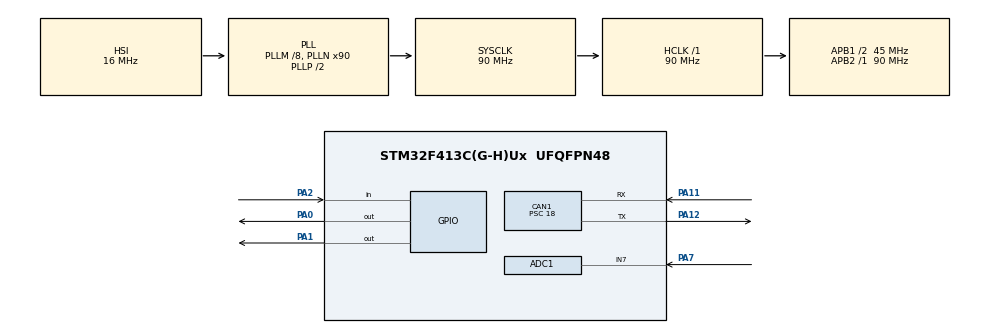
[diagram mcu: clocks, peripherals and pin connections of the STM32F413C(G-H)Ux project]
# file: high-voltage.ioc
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ADC1.Channel-0\#ChannelRegularConversion=ADC_CHANNEL_7
ADC1.ContinuousConvMode=ENABLE
ADC1.DMAContinuousRequests=ENABLE
ADC1.NbrOfConversion=1
ADC1.NbrOfConversionFlag=1
ADC1.ScanConvMode=DISABLE
ADC1.master=1
CAN1.ABOM=ENABLE
CAN1.AWUM=DISABLE
CAN1.BS1=CAN_BS1_3TQ
CAN1.CalculateBaudRate=500000
CAN1.CalculateTimeBit=2000
CAN1.CalculateTimeQuantum=400.0
CAN1.NART=DISABLE
CAN1.Prescaler=18
Dma.ADC1.0.Direction=DMA_PERIPH_TO_MEMORY
Dma.ADC1.0.FIFOMode=DMA_FIFOMODE_DISABLE
Dma.ADC1.0.Instance=DMA2_Stream0
Dma.ADC1.0.MemDataAlignment=DMA_MDATAALIGN_HALFWORD
Dma.ADC1.0.MemInc=DMA_MINC_ENABLE
Dma.ADC1.0.Mode=DMA_CIRCULAR
Dma.ADC1.0.PeriphDataAlignment=DMA_PDATAALIGN_HALFWORD
Dma.ADC1.0.PeriphInc=DMA_PINC_DISABLE
Dma.ADC1.0.Priority=DMA_PRIORITY_LOW
Dma.Request0=ADC1
Mcu.Family=STM32F4
Mcu.Name=STM32F413C(G-H)Ux
Mcu.Package=UFQFPN48
NVIC.CAN1_RX0_IRQn=true\:0\:0\:false\:false\:true\:true\:true
NVIC.DMA2_Stream0_IRQn=true\:0\:0\:false\:false\:true\:false\:true
NVIC.PriorityGroup=NVIC_PRIORITYGROUP_4
NVIC.TIM8_TRG_COM_TIM14_IRQn=true\:0\:0\:false\:false\:true\:true\:true
NVIC.TIM8_UP_TIM13_IRQn=true\:0\:0\:false\:false\:true\:true\:true
PA0.GPIO_PuPd=GPIO_PULLDOWN
PA0.Signal=GPIO_Output
PA1.GPIO_PuPd=GPIO_PULLUP
PA1.Signal=GPIO_Output
PA11.Mode=CAN_Activate
PA11.Signal=CAN1_RX
PA12.Mode=CAN_Activate
PA12.Signal=CAN1_TX
PA13.Mode=Serial_Wire
PA13.Signal=SYS_JTMS-SWDIO
PA14.Mode=Serial_Wire
PA14.Signal=SYS_JTCK-SWCLK
PA2.Signal=GPIO_Input
PA7.Signal=ADCx_IN7
PH0\ -\ OSC_IN.Mode=HSE-External-Oscillator
PH0\ -\ OSC_IN.Signal=RCC_OSC_IN
PH1\ -\ OSC_OUT.Mode=HSE-External-Oscillator
PH1\ -\ OSC_OUT.Signal=RCC_OSC_OUT
ProjectManager.HeapSize=0x200
ProjectManager.StackSize=0x400
ProjectManager.TargetToolchain=Makefile
RCC.AHBFreq_Value=90000000
RCC.APB1CLKDivider=RCC_HCLK_DIV2
RCC.APB1Freq_Value=45000000
RCC.APB1TimFreq_Value=90000000
RCC.APB2Freq_Value=90000000
RCC.APB2TimFreq_Value=90000000
RCC.CortexFreq_Value=90000000
RCC.HCLKFreq_Value=90000000
RCC.PLLM=8
RCC.PLLN=90
RCC.SYSCLKFreq_VALUE=90000000
RCC.SYSCLKSource=RCC_SYSCLKSOURCE_PLLCLK
RCC.USBFreq_Value=90000000
RCC.VCOOutputFreq_Value=180000000
SH.ADCx_IN7.0=ADC1_IN7,IN7
TIM13.Period=1000-1
TIM13.Prescaler=9000-1
TIM14.Period=500-1
TIM14.Prescaler=9000-1
VP_TIM13_VS_ClockSourceINT.Mode=Enable_Timer
VP_TIM14_VS_ClockSourceINT.Mode=Enable_Timer
board=custom

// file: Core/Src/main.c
/* USER CODE BEGIN Header */
/**
  ******************************************************************************
  * @file           : main.c
  * @brief          : Main program body
  ******************************************************************************
  * @attention
  *
  * <h2><center>&copy; Copyright (c) 2022 STMicroelectronics.
  * All rights reserved.</center></h2>
  *
  * This software component is licensed by ST under BSD 3-Clause license,
  * the "License"; You may not use this file except in compliance with the
  * License. You may obtain a copy of the License at:
  *                        opensource.org/licenses/BSD-3-Clause
  *
  ******************************************************************************
  */
/* USER CODE END Header */
#include "main.h"

/* USER CODE BEGIN PD */

// analog buffer
#define ADC_BUF_LEN 4086

// precharge
#define PRECHARGE_COEFFICIENT       0.95          // 95% complete with precharge so it's probably safe to continue
#define NUM_COMMAND_MSG             10            // number of command messages we see from rinehart
#define NUM_VOLTAGE_CHECKS          500           // since we're checking at 10ms Interrupts, 500 would be 5 seconds.
                                                  // precharge should be done in less than 2 seconds.
/* USER CODE END PD */

ADC_HandleTypeDef hadc1;
DMA_HandleTypeDef hdma_adc1;

CAN_HandleTypeDef hcan1;

TIM_HandleTypeDef htim13;
TIM_HandleTypeDef htim14;

/* USER CODE BEGIN PV */

// counters for Rinehart message sending in precharge
uint8_t rinehart_send_command_count = 0;

// inputs
uint32_t rinehartVoltage = 0;                 // read from CAN
uint32_t bmsVoltage = 0;					            // read from CAN
int vicoreTemp = 0;					                  // read from DMA, vicore temp
int DCDCEnable = 0;                           // dc-dc enable (0 = disabled, 1 = enabled)
int RTDButtonPressed = 0;                     // read this from CAN, if it's 1 we can finish precharge
uint32_t adc_buf[ADC_BUF_LEN];				        // adc read buffer

// output
int DCDCFault = 0;                            // the dc-dc fault indicator (0 = no fault, 1 = fault)
int readyToDrive = 0;					                // the car is ready to drive! (0 = not ready, 1 = ready)

// precharge states
enum prechargeStates
{
	PRECHARGE_OFF,
	PRECHARGE_ON,
	PRECHARGE_DONE,
	PRECHARGE_ERROR
};
uint8_t prechargeState = PRECHARGE_OFF;			  // set initial precharge state to OFF
uint8_t lastPrechargeState = PRECHARGE_OFF;
uint8_t voltageCheckCount = 0;
uint8_t rinehartUpdate = 0; // listens for rinehart receive parameter success message

// CAN transmit
uint32_t TxMailbox; 							            // CAN Bus Mail box variable
CAN_TxHeaderTypeDef txHeader0; 					      // CAN Bus Transmit Header BASE
CAN_TxHeaderTypeDef txHeader1; 					      // CAN Bus Transmit Header DATA
CAN_TxHeaderTypeDef txHeader2; 					      // CAN Bus Transmit Header DATA
CAN_TxHeaderTypeDef TxHeader3; 					      // CAN Bus Transmit Header DATA
uint8_t TxData[8];                            // CAN transmit buffer

// CAN recive
CAN_RxHeaderTypeDef rxHeader; 					      // CAN Bus Receive Header
uint8_t canRX[8] = {0, 0, 0, 0, 0, 0, 0, 0}; 	// CAN Bus Receive Buffer

CAN_FilterTypeDef canFilter0; 					      // CAN Bus Filter for BMS
CAN_FilterTypeDef canFilter1;                 // CAN Bus Filter for Rinehart
CAN_FilterTypeDef canFilter2;                 // CAN Bus Filter for Rinehart
/* USER CODE END PV */

void SystemClock_Config(void);
static void MX_GPIO_Init(void);
static void MX_CAN1_Init(void);
static void MX_DMA_Init(void);
static void MX_ADC1_Init(void);
static void MX_TIM14_Init(void);
static void MX_TIM13_Init(void);
/* USER CODE BEGIN PFP */
void prechargeControl();

/* USER CODE END PFP */

int main(void)
{

  /* MCU Configuration--------------------------------------------------------*/

  /* Reset of all peripherals, Initializes the Flash interface and the Systick. */
  HAL_Init();

  /* Configure the system clock */
  SystemClock_Config();

  /* Initialize all configured peripherals */
  MX_GPIO_Init();
  MX_CAN1_Init();
  MX_DMA_Init();
  MX_ADC1_Init();
  MX_TIM14_Init();
  MX_TIM13_Init();
  /* USER CODE BEGIN 2 */

  // init the CAN mailbox for BASE
  txHeader0.DLC = 8; // Number of bites to be transmitted max- 8
  txHeader0.IDE = CAN_ID_STD;
  txHeader0.RTR = CAN_RTR_DATA;
  txHeader0.StdId = 0x086;
  txHeader0.ExtId = 0x00;
  txHeader0.TransmitGlobalTime = DISABLE;

  // init the CAN mailbox for DATA
  txHeader1.DLC = 8; // Number of bites to be transmitted max- 8
  txHeader1.IDE = CAN_ID_STD;
  txHeader1.RTR = CAN_RTR_DATA;
  txHeader1.StdId = 0x087;
  txHeader1.ExtId = 0x00;
  txHeader1.TransmitGlobalTime = DISABLE;

  // header for rinehart (Parameter Command Message)
  txHeader2.DLC = 8; // Number of bites to be transmitted max- 8
  txHeader2.IDE = CAN_ID_STD;
  txHeader2.RTR = CAN_RTR_DATA;
  txHeader2.StdId = 0x0C1;
  txHeader2.ExtId = 0x00;
  txHeader2.TransmitGlobalTime = DISABLE;

  // Rinehart command message
  TxHeader3.StdId = 0x0C0;
  TxHeader3.ExtId = 0x000;
  TxHeader3.IDE = CAN_ID_STD;
  TxHeader3.RTR = CAN_RTR_DATA;
  TxHeader3.DLC = 8;
  TxHeader3.TransmitGlobalTime = DISABLE;

	// HAL_CAN_Start(&hcan1); // Initialize CAN Bus
	// HAL_CAN_ActivateNotification(&hcan1, CAN_IT_RX_FIFO0_MSG_PENDING);   // Initialize CAN Bus Rx Interrupt

  // start timers
  // HAL_TIM_Base_Start_IT(&htim14);
  // HAL_TIM_Base_Start_IT(&htim13);

	// start ADC DMA
	// HAL_ADC_Start_DMA(&hadc1, adc_buf, ADC_BUF_LEN);

  /* USER CODE END 2 */

  /* Infinite loop */
  while (1)
  {

  }
}

void SystemClock_Config(void)
{
  RCC_OscInitTypeDef RCC_OscInitStruct = {0};
  RCC_ClkInitTypeDef RCC_ClkInitStruct = {0};

  /** Configure the main internal regulator output voltage
  */
  __HAL_RCC_PWR_CLK_ENABLE();
  __HAL_PWR_VOLTAGESCALING_CONFIG(PWR_REGULATOR_VOLTAGE_SCALE1);
  /** Initializes the RCC Oscillators according to the specified parameters
  * in the RCC_OscInitTypeDef structure.
  */
  RCC_OscInitStruct.OscillatorType = RCC_OSCILLATORTYPE_HSI;
  RCC_OscInitStruct.HSIState = RCC_HSI_ON;
  RCC_OscInitStruct.HSICalibrationValue = RCC_HSICALIBRATION_DEFAULT;
  RCC_OscInitStruct.PLL.PLLState = RCC_PLL_ON;
  RCC_OscInitStruct.PLL.PLLSource = RCC_PLLSOURCE_HSI;
  RCC_OscInitStruct.PLL.PLLM = 8;
  RCC_OscInitStruct.PLL.PLLN = 90;
  RCC_OscInitStruct.PLL.PLLP = RCC_PLLP_DIV2;
  RCC_OscInitStruct.PLL.PLLQ = 2;
  RCC_OscInitStruct.PLL.PLLR = 2;
  if (HAL_RCC_OscConfig(&RCC_OscInitStruct) != HAL_OK)
  {
    Error_Handler();
  }
  /** Initializes the CPU, AHB and APB buses clocks
  */
  RCC_ClkInitStruct.ClockType = RCC_CLOCKTYPE_HCLK|RCC_CLOCKTYPE_SYSCLK
                              |RCC_CLOCKTYPE_PCLK1|RCC_CLOCKTYPE_PCLK2;
  RCC_ClkInitStruct.SYSCLKSource = RCC_SYSCLKSOURCE_PLLCLK;
  RCC_ClkInitStruct.AHBCLKDivider = RCC_SYSCLK_DIV1;
  RCC_ClkInitStruct.APB1CLKDivider = RCC_HCLK_DIV2;
  RCC_ClkInitStruct.APB2CLKDivider = RCC_HCLK_DIV1;

  if (HAL_RCC_ClockConfig(&RCC_ClkInitStruct, FLASH_LATENCY_3) != HAL_OK)
  {
    Error_Handler();
  }
}

static void MX_ADC1_Init(void)
{

  ADC_ChannelConfTypeDef sConfig = {0};

  /** Configure the global features of the ADC (Clock, Resolution, Data Alignment and number of conversion)
  */
  hadc1.Instance = ADC1;
  hadc1.Init.ClockPrescaler = ADC_CLOCK_SYNC_PCLK_DIV4;
  hadc1.Init.Resolution = ADC_RESOLUTION_12B;
  hadc1.Init.ScanConvMode = DISABLE;
  hadc1.Init.ContinuousConvMode = ENABLE;
  hadc1.Init.DiscontinuousConvMode = DISABLE;
  hadc1.Init.ExternalTrigConvEdge = ADC_EXTERNALTRIGCONVEDGE_NONE;
  hadc1.Init.ExternalTrigConv = ADC_SOFTWARE_START;
  hadc1.Init.DataAlign = ADC_DATAALIGN_RIGHT;
  hadc1.Init.NbrOfConversion = 1;
  hadc1.Init.DMAContinuousRequests = ENABLE;
  hadc1.Init.EOCSelection = ADC_EOC_SINGLE_CONV;
  if (HAL_ADC_Init(&hadc1) != HAL_OK)
  {
    Error_Handler();
  }
  /** Configure for the selected ADC regular channel its corresponding rank in the sequencer and its sample time.
  */
  sConfig.Channel = ADC_CHANNEL_7;
  sConfig.Rank = 1;
  sConfig.SamplingTime = ADC_SAMPLETIME_3CYCLES;
  if (HAL_ADC_ConfigChannel(&hadc1, &sConfig) != HAL_OK)
  {
    Error_Handler();
  }

}

static void MX_CAN1_Init(void)
{

  hcan1.Instance = CAN1;
  hcan1.Init.Prescaler = 18;
  hcan1.Init.Mode = CAN_MODE_NORMAL;
  hcan1.Init.SyncJumpWidth = CAN_SJW_1TQ;
  hcan1.Init.TimeSeg1 = CAN_BS1_3TQ;
  hcan1.Init.TimeSeg2 = CAN_BS2_1TQ;
  hcan1.Init.TimeTriggeredMode = DISABLE;
  hcan1.Init.AutoBusOff = ENABLE;
  hcan1.Init.AutoWakeUp = DISABLE;
  hcan1.Init.AutoRetransmission = DISABLE;
  hcan1.Init.ReceiveFifoLocked = DISABLE;
  hcan1.Init.TransmitFifoPriority = DISABLE;
  if (HAL_CAN_Init(&hcan1) != HAL_OK)
  {
    Error_Handler();
  }
  /* USER CODE BEGIN CAN1_Init 2 */

  // init the CAN filter for BMS messages
    canFilter0.FilterIdHigh = 0x6B0 << 5;   // Orion ID: 0x6B0
  	canFilter0.FilterIdLow = 0x000;
    canFilter0.FilterMaskIdHigh = 0x6B0 << 5;
  	canFilter0.FilterMaskIdLow = 0x000;
    canFilter0.FilterBank = 0;
  	canFilter0.FilterMode = CAN_FILTERMODE_IDMASK;
  	canFilter0.FilterFIFOAssignment = CAN_RX_FIFO0;
  	canFilter0.FilterScale = CAN_FILTERSCALE_32BIT;
  	canFilter0.FilterActivation = ENABLE;

    HAL_CAN_ConfigFilter(&hcan1, &canFilter0);

    // init the CAN filter for Rinehart voltage messages
    canFilter1.FilterIdHigh = 0x0A7 << 5;      // Rinehart IDs: 0xA0 - 0xB1
  	canFilter1.FilterIdLow = 0x000;
    canFilter1.FilterMaskIdHigh = 0x0A7 << 5;
  	canFilter1.FilterMaskIdLow = 0x000;
    canFilter1.FilterBank = 1;
  	canFilter1.FilterMode = CAN_FILTERMODE_IDMASK;
  	canFilter1.FilterFIFOAssignment = CAN_RX_FIFO0;
  	canFilter1.FilterScale = CAN_FILTERSCALE_32BIT;
  	canFilter1.FilterActivation = ENABLE;

    HAL_CAN_ConfigFilter(&hcan1, &canFilter1);

    // init the CAN filter for Rinehart Parameter Success messages
    canFilter2.FilterIdHigh = 0x0C2 << 5;      // Rinehart IDs: 0xA0 - 0xB1
  	canFilter2.FilterIdLow = 0x000;
    canFilter2.FilterMaskIdHigh = 0x0C2 << 5;
  	canFilter2.FilterMaskIdLow = 0x000;
    canFilter2.FilterBank = 2;
  	canFilter2.FilterMode = CAN_FILTERMODE_IDMASK;
  	canFilter2.FilterFIFOAssignment = CAN_RX_FIFO0;
  	canFilter2.FilterScale = CAN_FILTERSCALE_32BIT;
  	canFilter2.FilterActivation = ENABLE;

    HAL_CAN_ConfigFilter(&hcan1, &canFilter2);

  /* USER CODE END CAN1_Init 2 */

}

static void MX_TIM13_Init(void)
{

  htim13.Instance = TIM13;
  htim13.Init.Prescaler = 9000-1;
  htim13.Init.CounterMode = TIM_COUNTERMODE_UP;
  htim13.Init.Period = 1000-1;
  htim13.Init.ClockDivision = TIM_CLOCKDIVISION_DIV1;
  htim13.Init.AutoReloadPreload = TIM_AUTORELOAD_PRELOAD_DISABLE;
  if (HAL_TIM_Base_Init(&htim13) != HAL_OK)
  {
    Error_Handler();
  }

}

static void MX_TIM14_Init(void)
{

  htim14.Instance = TIM14;
  htim14.Init.Prescaler = 9000-1;
  htim14.Init.CounterMode = TIM_COUNTERMODE_UP;
  htim14.Init.Period = 500-1;
  htim14.Init.ClockDivision = TIM_CLOCKDIVISION_DIV1;
  htim14.Init.AutoReloadPreload = TIM_AUTORELOAD_PRELOAD_DISABLE;
  if (HAL_TIM_Base_Init(&htim14) != HAL_OK)
  {
    Error_Handler();
  }

}

static void MX_DMA_Init(void)
{

  /* DMA controller clock enable */
  __HAL_RCC_DMA2_CLK_ENABLE();

  /* DMA interrupt init */
  /* DMA2_Stream0_IRQn interrupt configuration */
  HAL_NVIC_SetPriority(DMA2_Stream0_IRQn, 0, 0);
  HAL_NVIC_EnableIRQ(DMA2_Stream0_IRQn);

}

static void MX_GPIO_Init(void)
{
  GPIO_InitTypeDef GPIO_InitStruct = {0};

  /* GPIO Ports Clock Enable */
  __HAL_RCC_GPIOH_CLK_ENABLE();
  __HAL_RCC_GPIOA_CLK_ENABLE();

  /*Configure GPIO pin Output Level */
  HAL_GPIO_WritePin(GPIOA, GPIO_PIN_0|GPIO_PIN_1, GPIO_PIN_RESET);

  /*Configure GPIO pin : PA0 */
  GPIO_InitStruct.Pin = GPIO_PIN_0;
  GPIO_InitStruct.Mode = GPIO_MODE_OUTPUT_PP;
  GPIO_InitStruct.Pull = GPIO_PULLDOWN;
  GPIO_InitStruct.Speed = GPIO_SPEED_FREQ_LOW;
  HAL_GPIO_Init(GPIOA, &GPIO_InitStruct);

  /*Configure GPIO pin : PA1 */
  GPIO_InitStruct.Pin = GPIO_PIN_1;
  GPIO_InitStruct.Mode = GPIO_MODE_OUTPUT_PP;
  GPIO_InitStruct.Pull = GPIO_PULLUP;
  GPIO_InitStruct.Speed = GPIO_SPEED_FREQ_LOW;
  HAL_GPIO_Init(GPIOA, &GPIO_InitStruct);

  /*Configure GPIO pin : PA2 */
  GPIO_InitStruct.Pin = GPIO_PIN_2;
  GPIO_InitStruct.Mode = GPIO_MODE_INPUT;
  GPIO_InitStruct.Pull = GPIO_NOPULL;
  HAL_GPIO_Init(GPIOA, &GPIO_InitStruct);

}

/* USER CODE BEGIN 4 */

// *** functions *** //

/**
 * overwriting the weak function defined in the includes which is the ISR for the CAN interrupt
 */
void HAL_CAN_RxFifo0MsgPendingCallback(CAN_HandleTypeDef *hcan1)
{
  // if (HAL_CAN_GetRxMessage(hcan1, CAN_RX_FIFO0, &rxHeader, canRX) != HAL_OK)
  //   Error_Handler();

  // // get rinehart bus voltage
  // if (rxHeader.StdId == 0x0A7)    // TODO: sometimes rinehart sends 0 length messages so only read when there's data
  // {
  //   // rinehart voltage is spread across the first 2 bytes
	//   int rine1 = canRX[0];
  //   int rine2 = canRX[1];

  //   // combine the first two bytes and assign that to the rinehart voltage
  //   rinehartVoltage = (rine2 << 8) | rine1;
  // }

  // // get BMS total voltages
  // if (rxHeader.StdId == 0x6B0)
  // {
  //   // BMS voltage is spread across the first 2 bytes
	//   int volt1 = canRX[2];
  //   int volt2 = canRX[3];

  //   // combine the first two bytes and assign that to the BMS voltage
  //   bmsVoltage = (volt1 << 8) | volt2; // orion has a pre-scaller of *10
  // }

  // // update the value based on the rinehart parameter update message
  // if (rxHeader.StdId == 0x0C2){
  //   rinehartUpdate = canRX[2];
  // }
}

/**
 * @brief
 *
 */

void HAL_TIM_PeriodElapsedCallback(TIM_HandleTypeDef *htim)
{
  // // on __Hz interval
  // if (htim == &htim14)
  // {
  //   // build message for _____
  //   TxData[0] = readyToDrive;               // controled by precharge
  //   TxData[1] = DCDCFault;                  // 0 for now TODO: implement fault detection
  //   TxData[2] = vicoreTemp;                 // DMA update
  //   TxData[3] = rinehartVoltage & 0xFF;     // update on CAN message LSB
  //   TxData[4] = rinehartVoltage >> 8;       // update on CAN message MSB
  //   TxData[5] = bmsVoltage & 0xFF;          // update on CAN message LSB
  //   TxData[6] = bmsVoltage >> 8;            // update on CAN message MSB
  //   TxData[7] = prechargeState;             // show which state of precharge / driving we're in, 0:off, 1:pre, 2: main

  //   // send message
  //   HAL_CAN_AddTxMessage(&hcan1, &txHeader1, TxData, &TxMailbox);
  // }

  // // // on __Hz interval
  // // if(htim == &htim13)
  // // {
  // //   // check precharge status
  // //   prechargeControl();
  // // }
}

void HAL_ADC_ConvCpltCallback(ADC_HandleTypeDef* hadc)
{
  // TODO: check analog values for the temperature conversion
  // Define threshold for when the fan should turn on

  // update vicor temp
  // vicoreTemp = adc_buf[0];

  // // set fan based on value
  // if (vicoreTemp >= 2048)
  // {
  //   // set the fan high
  //   HAL_GPIO_WritePin(GPIOA, GPIO_PIN_0, GPIO_PIN_SET);
  // }

  // else
  // {
  //   // set fan low
  //   HAL_GPIO_WritePin(GPIOA, GPIO_PIN_0, GPIO_PIN_RESET);
  // }
}

/* USER CODE END 4 */

void Error_Handler(void)
{
  __disable_irq();
  while (1)
  {
  }
}
